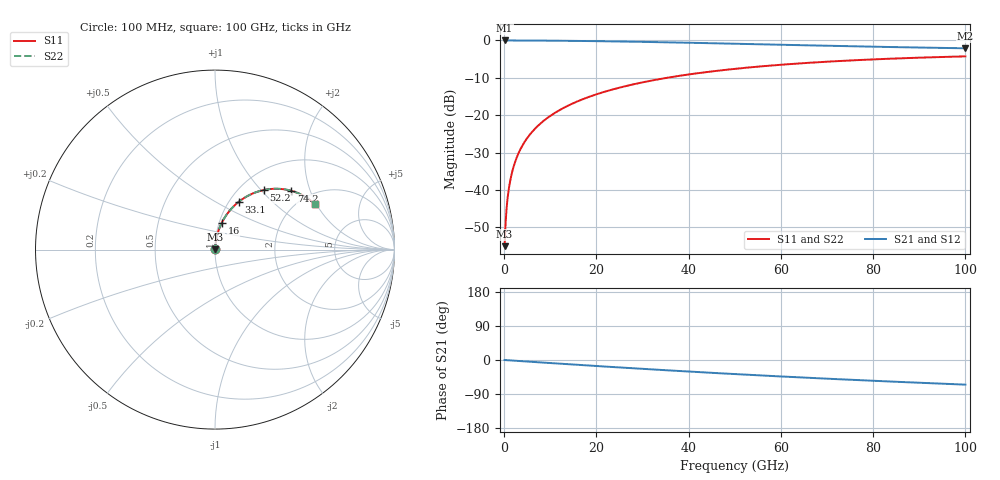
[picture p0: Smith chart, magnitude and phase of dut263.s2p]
! Touchstone file exported from HFSS 2026.1.0
!  File:  C:/ffzhzh/LocalFiles/Ansys_Project_Files/temp_train_RDL_263_1783501736_55944.aedt
!  Generated:  05:10:11 PM Jul  8, 2026
!  Design:  RDL
!  Project:  temp_train_RDL_263_1783501736_55944
! Variables:
!  h_bsmrdl = 2um
!  h_ox = 20um
!  h_rdl = 5um
!  h_sub = 80um
!  h_tmrdl = 2.46um
!  h_tsv = 80um
!  h_via = 3um
!  l_bsmrdl = 300um
!  l_sub = 558.65um
!  l_tmrdl = 158.65um
!  m_sub = 200um
!  pitch = 56.45um
!  r_tsv = 6um
!  s_tmrdl = 10um
!  w_bsmrdl = 18um
!  w_sub = 500um
!  w_tmrdl = 20.59um
!  x_tsv_center1 = 168.945um
!  x_tsv_center2 = 486.945um
!  x_tsv_center3 = 666.185um
!  x_tsv_center4 = 984.185um
!  x_tsv_center5 = 1163.425um
!  x_tsv_center6 = 1481.425um
# GHz S MA R 50.000000
! Terminal data exported
! Port[1] = TM_RDL1_1_T1
! Port[2] = TM_RDL1_1_T2
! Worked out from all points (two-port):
!   1000 points, 100 MHz to 100 GHz, reference 50 ohm
!   highest |S21| = -0.01 dB at 100 MHz (marker M1); lowest = -2.1 dB at 100 GHz (marker M2)
!   |S21| within 3 dB of the highest: start of sweep to end of sweep
!   lowest |S11| = -55.0 dB at 100 MHz (marker M3), VSWR 1.00, Z = 50.1 + j0.106 ohm
!   |S11| at or under -10 dB: start of sweep to 35.32 GHz
!   |S22| runs from -55.0 to -4.3 dB; largest |S21 - S12| = 4.2e-15
!   S11 on the Smith chart (normalised r, x): 100 MHz: 1.00, +0.00; 16 GHz: 1.03, +0.31; 33.1 GHz: 1.11, +0.65; 52.2 GHz: 1.28, +1.04; 74.2 GHz: 1.62, +1.49; 100 GHz: 2.40, +1.94
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0.1  0.001771 36.5  0.9986 -0.1  0.9986 -0.1  0.001771 36.5
! Gamma 0 0 0 0
! Port Impedance 50 0 50 0
0.3  0.003466 64.3  0.9985 -0.3  0.9985 -0.3  0.003466 64.3
0.7  0.007315 76.4  0.9983 -0.6  0.9983 -0.6  0.007315 76.4
0.9  0.009253 78.7  0.9983 -0.7  0.9983 -0.7  0.009253 78.7
1.4  0.01412 81.7  0.9981 -1.1  0.9981 -1.1  0.01412 81.7
1.9  0.01902 83.0  0.998 -1.5  0.998 -1.5  0.01902 83.0
2.4  0.02392 83.6  0.9979 -2.0  0.9979 -2.0  0.02392 83.6
3.9  0.03865 83.9  0.9973 -3.2  0.9973 -3.2  0.03865 83.9
5.9  0.0582 83.0  0.9961 -4.8  0.9961 -4.8  0.0582 83.1
8.6  0.08436 81.3  0.9939 -6.9  0.9939 -6.9  0.08436 81.3
11.9  0.1158 78.9  0.9902 -9.6  0.9902 -9.6  0.1158 78.9
16  0.1539 75.9  0.9844 -12.8  0.9844 -12.8  0.154 75.9
16.8  0.1613 75.3  0.9831 -13.4  0.9831 -13.4  0.1613 75.3
24.1  0.2258 69.9  0.9696 -19.0  0.9696 -19.0  0.2258 69.9
33.1  0.2992 63.4  0.9489 -25.6  0.9489 -25.6  0.2993 63.4
33.4  0.3016 63.2  0.9481 -25.8  0.9481 -25.8  0.3016 63.2
50.1  0.417 52.0  0.9029 -37.2  0.9029 -37.2  0.417 52.0
52.2  0.4295 50.6  0.897 -38.6  0.897 -38.6  0.4295 50.7
66.7  0.5047 41.9  0.857 -47.4  0.857 -47.4  0.5047 41.9
74.2  0.5361 37.7  0.8378 -51.7  0.8378 -51.7  0.5361 37.7
83.4  0.5684 32.8  0.8163 -56.6  0.8163 -56.6  0.5685 32.8
100  0.6114 24.5  0.7849 -65.0  0.7849 -65.0  0.6114 24.5
